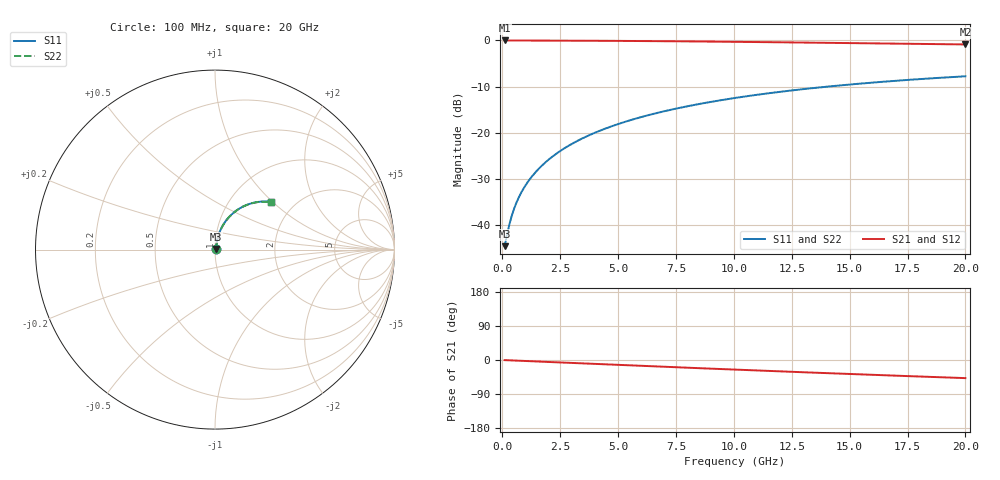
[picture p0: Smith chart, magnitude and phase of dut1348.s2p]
! Touchstone file exported from HFSS 2026.1.0
!  File:  C:/ffzhzh/LocalFiles/Ansys_Project_Files/temp_train_TMRDL_1348_1783165462_43440.aedt
!  Generated:  07:45:34 PM Jul  4, 2026
!  Design:  TMRDL
!  Project:  temp_train_TMRDL_1348_1783165462_43440
! Variables:
!  h_bsmrdl = 2um
!  h_ox = 20um
!  h_rdl = 5um
!  h_sub = 80um
!  h_tmrdl = 2.14um
!  h_tsv = 80um
!  h_via = 3um
!  l_bsmrdl = 300um
!  l_sub = 1113.31um
!  l_tmrdl = 713.31um
!  m_sub = 200um
!  pitch = 47.31um
!  r_tsv = 6um
!  s_tmrdl = 10um
!  w_bsmrdl = 18um
!  w_sub = 500um
!  w_tmrdl = 23.9um
!  x_tsv_center1 = 725.26um
!  x_tsv_center2 = 1043.26um
!  x_tsv_center3 = 1780.47um
!  x_tsv_center4 = 2098.47um
!  x_tsv_center5 = 2835.68um
!  x_tsv_center6 = 3153.68um
# GHz S MA R 50.000000
! Terminal data exported
! Port[1] = TM_RDL1_1_T1
! Port[2] = TM_RDL1_1_T2
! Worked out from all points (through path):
!   200 points, 100 MHz to 20 GHz, reference 50 ohm
!   highest |S21| = -0.05 dB at 100 MHz (marker M1); lowest = -0.9 dB at 20 GHz (marker M2)
!   group delay of S21, straight-line fit = 6.66 ps
!   lowest |S11| = -44.5 dB at 100 MHz (marker M3), VSWR 1.01, Z = 50.5 + j0.286 ohm
!   |S11| at or under -10 dB: start of sweep to 14.08 GHz
!   |S22| runs from -44.5 to -7.8 dB; largest |S21 - S12| = 4.3e-15
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0.1  0.005971 28.3  0.9948 -0.3  0.9948 -0.3  0.005971 28.3
! Gamma 0 0 0 0
! Port Impedance 50 0 50 0
0.3  0.01009 55.6  0.9944 -0.8  0.9944 -0.8  0.01009 55.6
0.4  0.01249 61.2  0.9941 -1.1  0.9941 -1.1  0.01249 61.2
0.5  0.01492 64.9  0.9939 -1.4  0.9939 -1.4  0.01492 64.9
0.6  0.01735 67.4  0.9937 -1.6  0.9937 -1.6  0.01736 67.4
0.8  0.02219 70.8  0.9932 -2.1  0.9932 -2.1  0.02219 70.8
1.1  0.02944 73.7  0.9928 -2.9  0.9928 -2.9  0.02944 73.7
1.3  0.03428 74.8  0.9925 -3.4  0.9925 -3.4  0.03428 74.8
1.6  0.04158 76.0  0.992 -4.2  0.992 -4.2  0.04159 75.9
2.1  0.05382 76.8  0.9913 -5.5  0.9913 -5.5  0.05382 76.7
2.7  0.06853 76.8  0.9902 -7.0  0.9902 -7.0  0.06854 76.8
3.5  0.08811 76.0  0.9885 -9.0  0.9885 -9.0  0.08811 76.0
4.2  0.1051 74.9  0.9867 -10.8  0.9867 -10.8  0.1051 74.9
5  0.1244 73.5  0.9843 -12.9  0.9843 -12.9  0.1244 73.4
5.9  0.1457 71.7  0.9811 -15.1  0.9811 -15.1  0.1457 71.6
6.8  0.1666 69.7  0.9775 -17.4  0.9775 -17.4  0.1666 69.7
8.3  0.2004 66.4  0.9708 -21.1  0.9708 -21.1  0.2005 66.3
10.1  0.2391 62.3  0.9615 -25.5  0.9615 -25.5  0.2392 62.2
11.7  0.2716 58.6  0.9524 -29.3  0.9524 -29.3  0.2716 58.6
13.4  0.304 54.8  0.9421 -33.3  0.9421 -33.3  0.304 54.7
16.7  0.3603 47.6  0.9214 -40.7  0.9214 -40.7  0.3604 47.5
20  0.4081 40.6  0.9008 -47.8  0.9008 -47.8  0.4081 40.5
